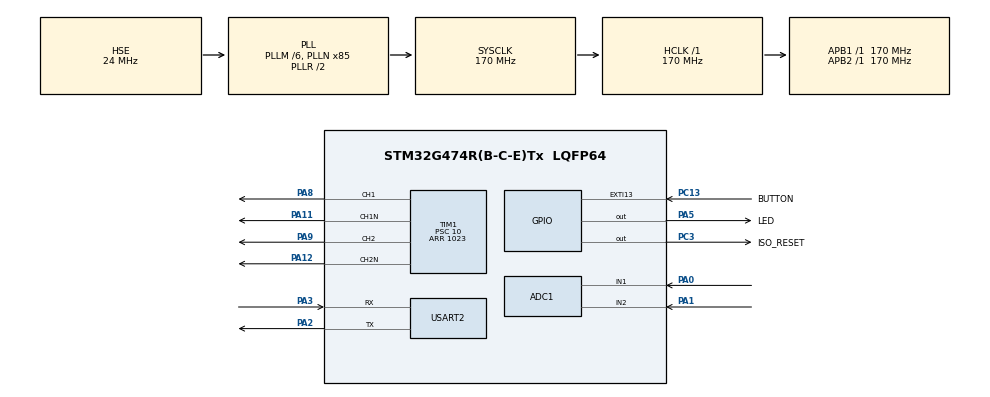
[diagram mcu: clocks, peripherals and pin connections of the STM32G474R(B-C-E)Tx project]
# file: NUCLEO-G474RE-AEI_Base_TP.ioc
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ADC1.Channel-0\#ChannelRegularConversion=ADC_CHANNEL_1
ADC1.NbrOfConversionFlag=1
ADC1.OffsetNumber-0\#ChannelRegularConversion=ADC_OFFSET_NONE
ADC1.Rank-0\#ChannelRegularConversion=1
ADC1.SamplingTime-0\#ChannelRegularConversion=ADC_SAMPLETIME_2CYCLES_5
ADC1.master=1
Mcu.Family=STM32G4
Mcu.Name=STM32G474R(B-C-E)Tx
Mcu.Package=LQFP64
NVIC.EXTI15_10_IRQn=true\:0\:0\:false\:false\:true\:true\:true\:true
NVIC.PriorityGroup=NVIC_PRIORITYGROUP_4
NVIC.TIM1_BRK_TIM15_IRQn=true\:0\:0\:false\:false\:true\:true\:true\:true
NVIC.TIM1_UP_TIM16_IRQn=true\:0\:0\:false\:false\:true\:true\:true\:true
NVIC.TIM6_DAC_IRQn=true\:15\:0\:false\:false\:true\:false\:true\:true
NVIC.TimeBase=TIM6_DAC_IRQn
NVIC.TimeBaseIP=TIM6
NVIC.USART2_IRQn=true\:0\:0\:false\:false\:true\:true\:true\:true
PA0.Mode=IN1-Single-Ended
PA0.Signal=ADC1_IN1
PA1.Mode=IN2-Single-Ended
PA1.Signal=ADC1_IN2
PA11.Mode=PWM Generation1 CH1 CH1N
PA11.Signal=TIM1_CH1N
PA12.Mode=PWM Generation2 CH2 CH2N
PA12.Signal=TIM1_CH2N
PA13.GPIO_Label=T_SWDIO
PA13.Mode=Serial_Wire
PA13.Signal=SYS_JTMS-SWDIO
PA14.GPIO_Label=T_SWCLK
PA14.Mode=Serial_Wire
PA14.Signal=SYS_JTCK-SWCLK
PA2.Mode=Asynchronous
PA2.Signal=USART2_TX
PA3.Mode=Asynchronous
PA3.Signal=USART2_RX
PA5.GPIO_Label=LED
PA5.Signal=GPIO_Output
PA8.Signal=S_TIM1_CH1
PA9.Signal=S_TIM1_CH2
PC13.GPIO_Label=BUTTON
PC13.Signal=GPXTI13
PC14-OSC32_IN.Mode=LSE-External-Oscillator
PC14-OSC32_IN.Signal=RCC_OSC32_IN
PC15-OSC32_OUT.Mode=LSE-External-Oscillator
PC15-OSC32_OUT.Signal=RCC_OSC32_OUT
PC3.GPIO_Label=ISO_RESET
PC3.Signal=GPIO_Output
PF0-OSC_IN.Mode=HSE-External-Oscillator
PF0-OSC_IN.Signal=RCC_OSC_IN
PF1-OSC_OUT.Mode=HSE-External-Oscillator
PF1-OSC_OUT.Signal=RCC_OSC_OUT
ProjectManager.HeapSize=0x200
ProjectManager.StackSize=0x400
ProjectManager.TargetToolchain=STM32CubeIDE
RCC.ADC12Freq_Value=170000000
RCC.ADC345Freq_Value=170000000
RCC.AHBFreq_Value=170000000
RCC.APB1Freq_Value=170000000
RCC.APB1TimFreq_Value=170000000
RCC.APB2Freq_Value=170000000
RCC.APB2TimFreq_Value=170000000
RCC.CortexFreq_Value=170000000
RCC.EXTERNAL_CLOCK_VALUE=12288000
RCC.HCLKFreq_Value=170000000
RCC.HSE_VALUE=24000000
RCC.HSI48_VALUE=48000000
RCC.HSI_VALUE=16000000
RCC.PLLM=RCC_PLLM_DIV6
RCC.PLLN=85
RCC.PLLSourceVirtual=RCC_PLLSOURCE_HSE
RCC.RTCClockSelection=RCC_RTCCLKSOURCE_LSE
RCC.SYSCLKFreq_VALUE=170000000
RCC.SYSCLKSource=RCC_SYSCLKSOURCE_PLLCLK
RCC.USBFreq_Value=170000000
RCC.VCOOutputFreq_Value=340000000
SH.S_TIM1_CH1.0=TIM1_CH1,PWM Generation1 CH1 CH1N
SH.S_TIM1_CH2.0=TIM1_CH2,PWM Generation2 CH2 CH2N
TIM1.Channel-PWM\ Generation1\ CH1\ CH1N=TIM_CHANNEL_1
TIM1.Channel-PWM\ Generation2\ CH2\ CH2N=TIM_CHANNEL_2
TIM1.CounterMode=TIM_COUNTERMODE_CENTERALIGNED1
TIM1.DeadTime=202
TIM1.PeriodNoDither=1023
TIM1.Prescaler=10
TIM1.PulseNoDither_1=512
TIM1.PulseNoDither_2=512
TIM1.RepetitionCounter=0
USART2.VirtualMode-Asynchronous=VM_ASYNC
VP_SYS_VS_DBSignals.Mode=DisableDeadBatterySignals
VP_SYS_VS_tim6.Mode=TIM6
VP_TIM1_VS_ClockSourceINT.Mode=Internal
board=NUCLEO-G474RE

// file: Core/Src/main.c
/* USER CODE BEGIN Header */
/**
 ******************************************************************************
 * @file           : main.c
 * @brief          : Main program body
 ******************************************************************************
 * @attention
 *
 * Copyright (c) 2022 STMicroelectronics.
 * All rights reserved.
 *
 * This software is licensed under terms that can be found in the LICENSE file
 * in the root directory of this software component.
 * If no LICENSE file comes with this software, it is provided AS-IS.
 *
 ******************************************************************************
 */
/* USER CODE END Header */
#include "main.h"
#include "adc.h"
#include "tim.h"
#include "usart.h"
#include "gpio.h"
#include "adc.h"
#include "motor.h"
#include "shell.h"

/* USER CODE BEGIN Includes */
#include <stdio.h>
#include <stdlib.h>
#include <string.h>

/* USER CODE END Includes */

/* USER CODE BEGIN PV */

extern uint8_t uartRxReceived;
extern uint8_t uartRxBuffer[UART_RX_BUFFER_SIZE];
extern uint8_t uartTxBuffer[UART_TX_BUFFER_SIZE];
/* USER CODE END PV */

void SystemClock_Config(void);

int main(void)
{

  /* MCU Configuration--------------------------------------------------------*/

  /* Reset of all peripherals, Initializes the Flash interface and the Systick. */
  HAL_Init();

  /* Configure the system clock */
  SystemClock_Config();

  /* Initialize all configured peripherals */
  MX_GPIO_Init();
  MX_TIM1_Init();
  MX_USART2_UART_Init();
  MX_ADC1_Init();
  /* USER CODE BEGIN 2 */
	HAL_UART_Receive_IT(&huart2, uartRxBuffer, UART_RX_BUFFER_SIZE);
	HAL_Delay(1);
	StartPWM();
	shellInit();
	HAL_GPIO_WritePin(ISO_RESET_GPIO_Port, ISO_RESET_Pin, SET);
	HAL_Delay(1);
	HAL_GPIO_WritePin(ISO_RESET_GPIO_Port, ISO_RESET_Pin, RESET);
  /* USER CODE END 2 */

  /* Infinite loop */
  /* USER CODE BEGIN WHILE */
	while (1)
	{
		// SuperLoop inside the while(1), only flag changed from interrupt could launch functions
		if(uartRxReceived){
			if(shellGetChar()){
				shellExec();
				shellPrompt();
			}
			uartRxReceived = 0;
		}
    /* USER CODE END WHILE */

	}
}

void SystemClock_Config(void)
{
  RCC_OscInitTypeDef RCC_OscInitStruct = {0};
  RCC_ClkInitTypeDef RCC_ClkInitStruct = {0};

  /** Configure the main internal regulator output voltage
  */
  HAL_PWREx_ControlVoltageScaling(PWR_REGULATOR_VOLTAGE_SCALE1_BOOST);

  /** Initializes the RCC Oscillators according to the specified parameters
  * in the RCC_OscInitTypeDef structure.
  */
  RCC_OscInitStruct.OscillatorType = RCC_OSCILLATORTYPE_HSE;
  RCC_OscInitStruct.HSEState = RCC_HSE_ON;
  RCC_OscInitStruct.PLL.PLLState = RCC_PLL_ON;
  RCC_OscInitStruct.PLL.PLLSource = RCC_PLLSOURCE_HSE;
  RCC_OscInitStruct.PLL.PLLM = RCC_PLLM_DIV6;
  RCC_OscInitStruct.PLL.PLLN = 85;
  RCC_OscInitStruct.PLL.PLLP = RCC_PLLP_DIV2;
  RCC_OscInitStruct.PLL.PLLQ = RCC_PLLQ_DIV2;
  RCC_OscInitStruct.PLL.PLLR = RCC_PLLR_DIV2;
  if (HAL_RCC_OscConfig(&RCC_OscInitStruct) != HAL_OK)
  {
    Error_Handler();
  }

  /** Initializes the CPU, AHB and APB buses clocks
  */
  RCC_ClkInitStruct.ClockType = RCC_CLOCKTYPE_HCLK|RCC_CLOCKTYPE_SYSCLK
                              |RCC_CLOCKTYPE_PCLK1|RCC_CLOCKTYPE_PCLK2;
  RCC_ClkInitStruct.SYSCLKSource = RCC_SYSCLKSOURCE_PLLCLK;
  RCC_ClkInitStruct.AHBCLKDivider = RCC_SYSCLK_DIV1;
  RCC_ClkInitStruct.APB1CLKDivider = RCC_HCLK_DIV1;
  RCC_ClkInitStruct.APB2CLKDivider = RCC_HCLK_DIV1;

  if (HAL_RCC_ClockConfig(&RCC_ClkInitStruct, FLASH_LATENCY_4) != HAL_OK)
  {
    Error_Handler();
  }
}

void HAL_TIM_PeriodElapsedCallback(TIM_HandleTypeDef *htim)
{
  if (htim->Instance == TIM6) {
    HAL_IncTick();
  }
}

void Error_Handler(void)
{
	__disable_irq();
	while (1)
	{
	}
}
